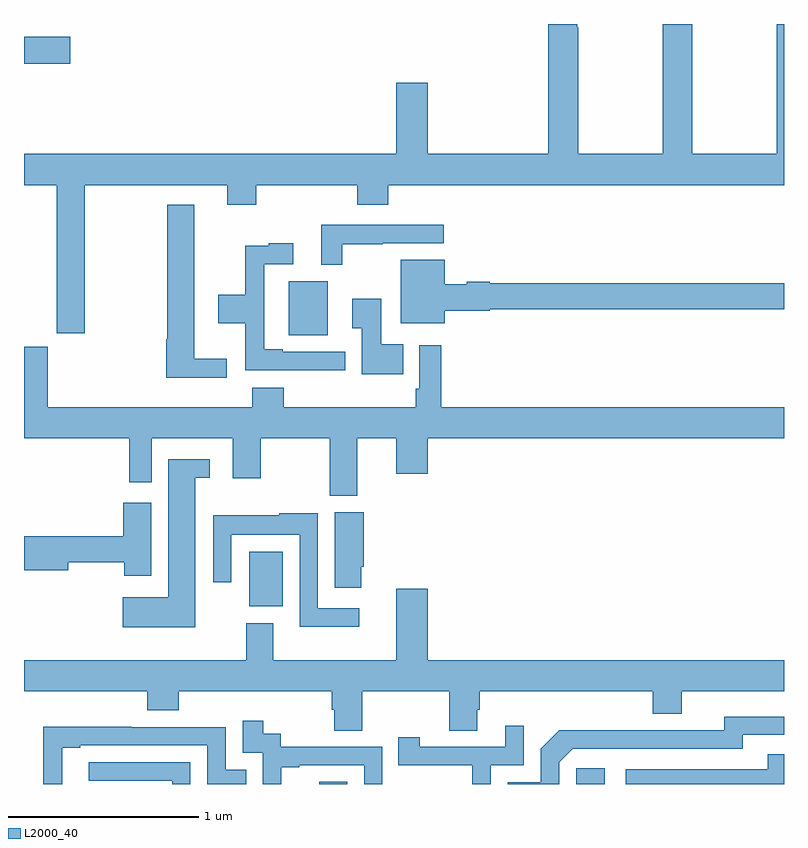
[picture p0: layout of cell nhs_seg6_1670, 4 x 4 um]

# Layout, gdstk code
import gdstk
lib = gdstk.Library(unit=1e-6, precision=1e-09)
def R(c, l, rs):  # rectangles x0, y0, x1, y1
    for r in rs: c.add(gdstk.rectangle(r[:2], r[2:], *l))
def P(c, l, *ps):  # polygons
    for p in ps: c.add(gdstk.Polygon(p, *l))
L2000_40 = (2000, 40)

nhs_seg6_1670 = lib.new_cell('nhs_seg6_1670')
R(nhs_seg6_1670, L2000_40, [(212.553,961.5,212.7,961.513), (213.906,961.5,214.057,961.582), (212.186,962.435,212.362,962.722), (212.393,963.863,212.599,964.147), (211,965.29,211.243,965.432)])
P(nhs_seg6_1670, L2000_40, [(211.32,964.652),(212.069,964.652),(212.069,964.55),(212.222,964.55),(212.222,964.652),(212.753,964.652),(212.753,964.55),(212.918,964.55),(212.918,964.652),(215,964.652),(215,965.5),(214.963,965.5),(214.963,964.816),(214.518,964.816),(214.518,965.5),(214.363,965.5),(214.363,964.816),(213.918,964.816),(213.918,965.483),(213.913,965.483),(213.913,965.5),(213.758,965.5),(213.758,964.816),(213.124,964.816),(213.124,965.191),(212.96,965.191),(212.96,964.816),(211,964.816),(211,964.652),(211.172,964.652),(211.172,963.873),(211.32,963.873)],
  [(212.068,963.737),(211.897,963.737),(211.897,964.549),(211.753,964.549),(211.753,963.842),(211.748,963.842),(211.748,963.638),(212.068,963.638)],
  [(212.674,964.342),(212.888,964.342),(212.888,964.347),(213.208,964.347),(213.208,964.443),(212.564,964.443),(212.564,964.232),(212.674,964.232)],
  [(212.692,963.774),(212.362,963.774),(212.362,963.787),(212.265,963.787),(212.265,964.236),(212.416,964.236),(212.416,964.345),(212.288,964.345),(212.288,964.334),(212.164,964.334),(212.164,964.074),(212.022,964.074),(212.022,963.926),(212.164,963.926),(212.164,963.678),(212.449,963.678),(212.449,963.677),(212.692,963.677)],
  [(213.214,963.992),(213.45,963.992),(213.45,964),(215,964),(215,964.136),(213.45,964.136),(213.45,964.144),(213.33,964.144),(213.33,964.129),(213.214,964.129),(213.214,964.258),(212.984,964.258),(212.984,963.926),(213.214,963.926)],
  [(212.996,963.814),(212.881,963.814),(212.881,964.054),(212.727,964.054),(212.727,963.898),(212.777,963.898),(212.777,963.656),(212.996,963.656)],
  [(212.755,963.32),(212.96,963.32),(212.96,963.132),(213.124,963.132),(213.124,963.32),(215,963.32),(215,963.484),(213.197,963.484),(213.197,963.808),(213.081,963.808),(213.081,963.58),(213.061,963.58),(213.061,963.484),(212.366,963.484),(212.366,963.586),(212.201,963.586),(212.201,963.484),(211.126,963.484),(211.126,963.801),(211,963.801),(211,963.32),(211.554,963.32),(211.554,963.087),(211.672,963.087),(211.672,963.32),(212.099,963.32),(212.099,963.108),(212.247,963.108),(212.247,963.32),(212.608,963.32),(212.608,963.016),(212.755,963.016)],
  [(211.9,963.113),(211.978,963.113),(211.978,963.21),(211.76,963.21),(211.76,962.482),(211.52,962.482),(211.52,962.324),(211.9,962.324)],
  [(211.669,962.98),(211.523,962.98),(211.523,962.804),(211,962.804),(211,962.626),(211.234,962.626),(211.234,962.668),(211.528,962.668),(211.528,962.595),(211.669,962.595)],
  [(212.776,962.644),(212.789,962.644),(212.789,962.931),(212.636,962.931),(212.636,962.532),(212.776,962.532)],
  [(212.764,962.424),(212.547,962.424),(212.547,962.924),(212.344,962.924),(212.344,962.914),(211.995,962.914),(211.995,962.562),(212.091,962.562),(212.091,962.813),(212.451,962.813),(212.451,962.327),(212.764,962.327)],
  [(212.781,961.988),(213.238,961.988),(213.238,961.78),(213.385,961.78),(213.385,961.89),(213.398,961.89),(213.398,961.988),(214.31,961.988),(214.31,961.871),(214.462,961.871),(214.462,961.988),(215,961.988),(215,962.152),(213.124,962.152),(213.124,962.527),(212.96,962.527),(212.96,962.152),(212.311,962.152),(212.311,962.347),(212.171,962.347),(212.171,962.152),(211,962.152),(211,961.988),(211.649,961.988),(211.649,961.889),(211.814,961.889),(211.814,961.988),(212.621,961.988),(212.621,961.89),(212.633,961.89),(212.633,961.78),(212.781,961.78)],
  [(213.816,961.614),(213.888,961.686),(214.782,961.686),(214.782,961.758),(215,961.758),(215,961.855),(214.686,961.855),(214.686,961.782),(214.226,961.782),(214.226,961.784),(213.818,961.784),(213.72,961.686),(213.72,961.509),(213.546,961.509),(213.546,961.5),(213.816,961.5)],
  [(212.354,961.587),(212.449,961.587),(212.449,961.599),(212.79,961.599),(212.79,961.5),(212.886,961.5),(212.886,961.695),(212.352,961.695),(212.352,961.764),(212.26,961.764),(212.26,961.834),(212.151,961.834),(212.151,961.665),(212.256,961.665),(212.256,961.5),(212.354,961.5)],
  [(213.456,961.599),(213.63,961.599),(213.63,961.807),(213.533,961.807),(213.533,961.695),(213.082,961.695),(213.082,961.747),(212.971,961.747),(212.971,961.599),(213.36,961.599),(213.36,961.5),(213.456,961.5)],
  [(211.2,961.692),(211.297,961.692),(211.297,961.704),(211.965,961.704),(211.965,961.5),(212.171,961.5),(212.171,961.575),(212.061,961.575),(212.061,961.8),(211.565,961.8),(211.565,961.802),(211.102,961.802),(211.102,961.5),(211.2,961.5)],
  [(215,961.657),(214.915,961.657),(214.915,961.578),(214.167,961.578),(214.167,961.5),(215,961.5)],
  [(211.875,961.614),(211.341,961.614),(211.341,961.518),(211.779,961.518),(211.779,961.5),(211.875,961.5)])

lib.write_gds('nhs_seg6_1670.gds')
